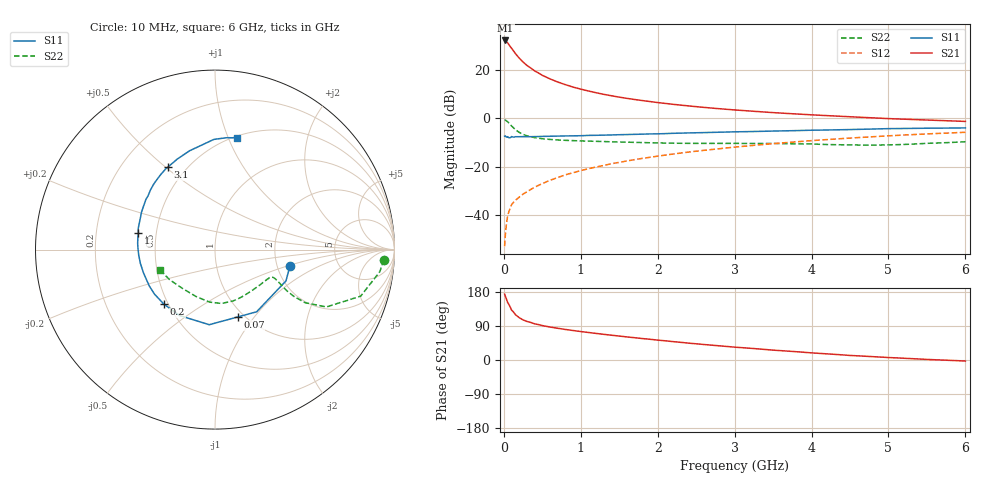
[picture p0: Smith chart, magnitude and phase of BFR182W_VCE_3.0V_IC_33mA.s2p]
! Infineon Technologies  Discrete & RF Semiconductors
! BFR182W
! VCE =  3.0 V,  IC =  33 mA
! Common Emitter S-Parameters:  Jan 2017
# GHz  S  MA  R  50
!  f  S11  S21  S12  S22
! GHz  MAG  ANG  MAG  ANG  MAG  ANG  MAG  ANG
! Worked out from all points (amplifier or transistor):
!   77 points, 10 MHz to 6 GHz, reference 50 ohm
!   highest |S21| = 32.5 dB at 20 MHz (marker M1)
!   |S21| within 3 dB of that: start of sweep to 94.37 MHz
!   unconditionally stable (mu >= 1): 459.4 MHz to 2.331 GHz
!   at 130 MHz: K = 0.57, MSG = 31.3 dB, |S12| = -34.8 dB
!   at 2.2 GHz: K = 1.01, MAG = 9.6 dB, |S12| = -14.8 dB
!   at 6 GHz: K = 0.89, MSG = 2.3 dB, |S12| = -5.8 dB
!   S11 on the Smith chart (normalised r, x): 10 MHz: 2.35, -0.52; 70 MHz: 0.93, -0.83; 200 MHz: 0.47, -0.35; 1 GHz: 0.40, +0.09; 3.1 GHz: 0.40, +0.51; 6 GHz: 0.52, +1.08
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0.01  0.4275 -12.2  41.88 173.7  0.0022 86.9  0.9417 -3.5
0.02  0.4322 -23.8  41.93 167.9  0.0038 86.9  0.9267 -7.6
0.05  0.417 -56.2  37.32 151.5  0.0094 72.2  0.8525 -17.7
0.07  0.396 -71.4  33.52 144.8  0.012 68.2  0.7884 -21.1
0.1  0.4197 -94.4  28.93 131.9  0.016 64.6  0.6985 -27.2
0.15  0.4168 -118.1  22.44 119.7  0.0198 60.8  0.584 -30.5
0.2  0.4165 -133.1  17.98 111.7  0.023 63.4  0.5128 -30.7
0.25  0.4186 -143.7  14.93 105.8  0.0267 63.1  0.4665 -29.9
0.3  0.4184 -151.2  12.67 101.8  0.0297 64.0  0.4346 -28.9
0.4  0.419 -161.9  9.768 95.5  0.037 67.1  0.399 -27.1
0.5  0.4229 -169.7  7.901 90.9  0.0441 69.4  0.3783 -26.1
0.6  0.426 -175.7  6.65 87.0  0.0517 70.2  0.3654 -25.6
0.7  0.4291 179.4  5.731 83.7  0.0588 72.4  0.3566 -25.6
0.8  0.4323 175.3  5.044 80.6  0.0671 73.1  0.3505 -26.0
1  0.4371 167.9  4.074 75.1  0.0821 73.2  0.3402 -27.6
1.1  0.4435 164.7  3.722 72.6  0.0901 73.2  0.3376 -28.8
1.5  0.4588 153.5  2.777 63.2  0.122 72.3  0.3234 -34.7
2.1  0.4837 139.2  2.052 50.6  0.173 69.2  0.3075 -47.7
3.1  0.5295 119.7  1.464 32.5  0.2618 61.4  0.3019 -73.2
4.1  0.5716 102.9  1.167 17.5  0.3541 51.7  0.29 -98.7
5.1  0.6158 89.3  0.978 5.6  0.4428 40.9  0.2842 -133.1
6  0.6355 78.7  0.867 -2.7  0.515 30.6  0.3275 -160.1
